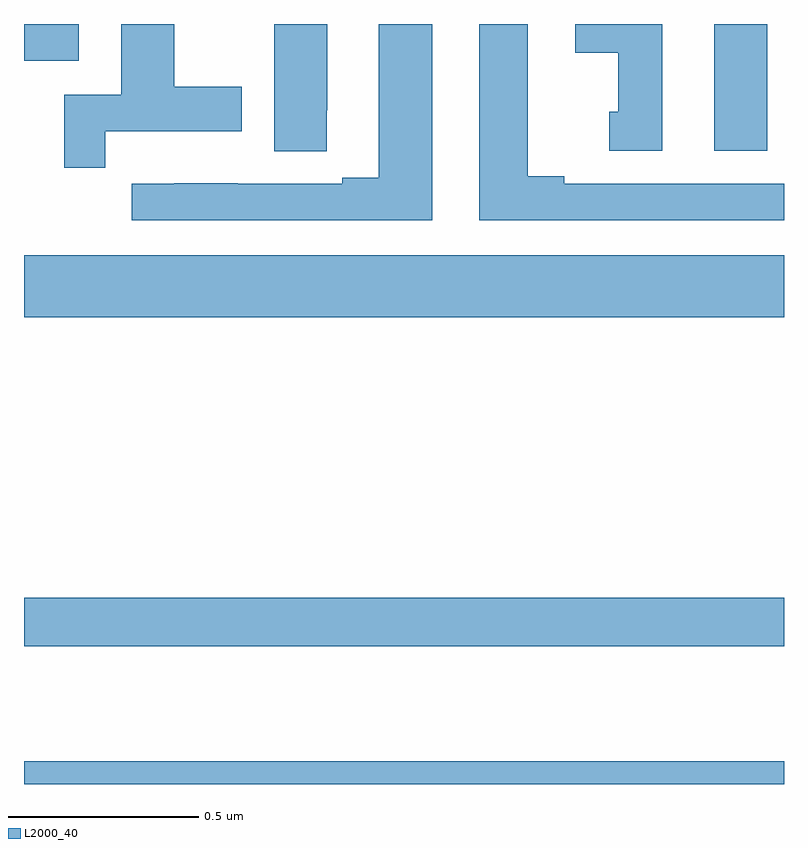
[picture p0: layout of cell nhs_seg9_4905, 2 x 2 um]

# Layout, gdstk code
import gdstk
lib = gdstk.Library(unit=1e-6, precision=1e-09)
def R(c, l, rs):  # rectangles x0, y0, x1, y1
    for r in rs: c.add(gdstk.rectangle(r[:2], r[2:], *l))
def P(c, l, *ps):  # polygons
    for p in ps: c.add(gdstk.Polygon(p, *l))
L2000_40 = (2000, 40)

nhs_seg9_4905 = lib.new_cell('nhs_seg9_4905')
R(nhs_seg9_4905, L2000_40, [(172,1220.5,174,1220.56), (172,1220.862,174,1220.99), (172,1221.728,174,1221.892), (173.816,1222.167,173.956,1222.5), (172,1222.403,172.144,1222.5)])
P(nhs_seg9_4905, L2000_40, [(172.214,1222.218),(172.573,1222.218),(172.573,1222.335),(172.396,1222.335),(172.396,1222.5),(172.256,1222.5),(172.256,1222.314),(172.106,1222.314),(172.106,1222.122),(172.214,1222.122)],
  [(173.68,1222.5),(173.45,1222.5),(173.45,1222.424),(173.564,1222.424),(173.564,1222.269),(173.54,1222.269),(173.54,1222.167),(173.68,1222.167)],
  [(174,1222.08),(173.422,1222.08),(173.422,1222.1),(173.326,1222.1),(173.326,1222.5),(173.198,1222.5),(173.198,1221.984),(174,1221.984)],
  [(173.074,1222.5),(172.934,1222.5),(172.934,1222.095),(172.838,1222.095),(172.838,1222.08),(172.562,1222.08),(172.562,1222.081),(172.396,1222.081),(172.396,1222.08),(172.284,1222.08),(172.284,1221.984),(173.074,1221.984)],
  [(172.797,1222.273),(172.798,1222.273),(172.798,1222.5),(172.658,1222.5),(172.658,1222.165),(172.797,1222.165)])

lib.write_gds('nhs_seg9_4905.gds')
